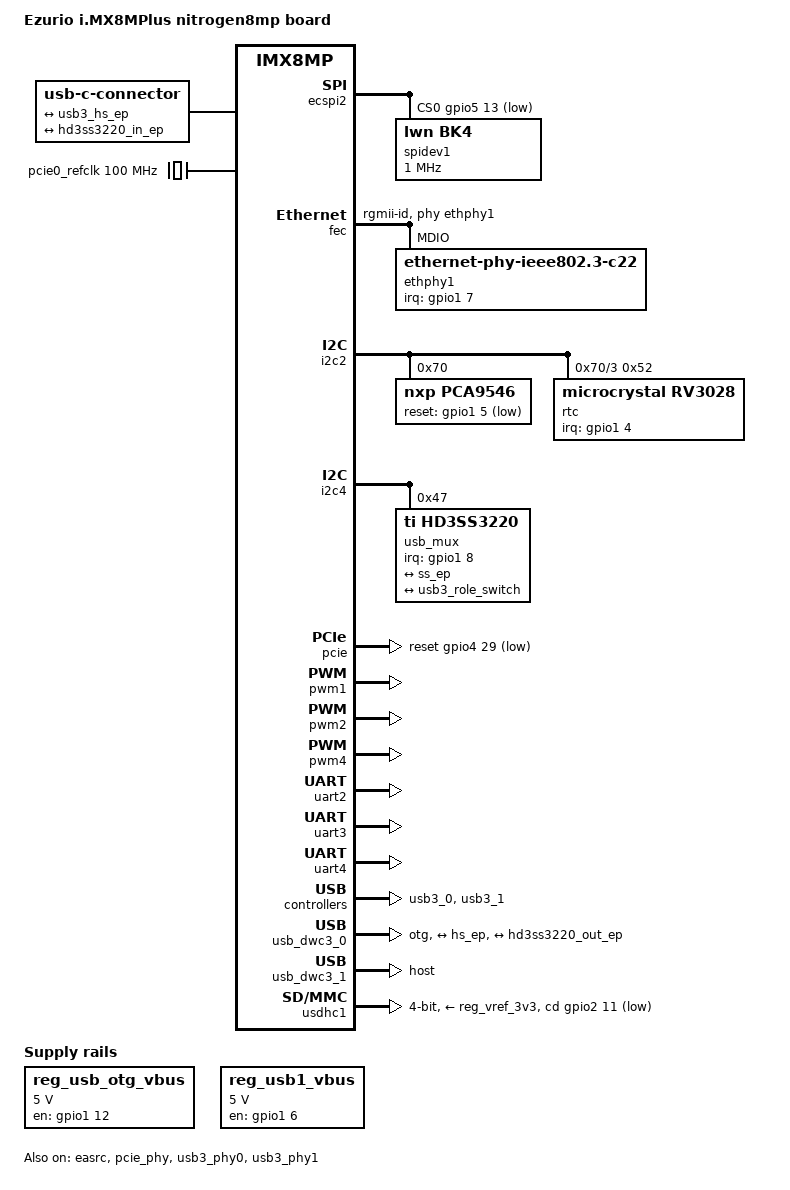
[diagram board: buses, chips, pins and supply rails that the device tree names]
// SPDX-License-Identifier: (GPL-2.0+ OR MIT)
/*
 * Copyright 2025 Ezurio LLC
 */

/dts-v1/;

#include <dt-bindings/phy/phy-imx8-pcie.h>
#include <dt-bindings/usb/pd.h>
#include "imx8mp-nitrogen8mp-som.dtsi"

/ {
	model = "Ezurio i.MX8MPlus nitrogen8mp board";
	compatible = "ezurio,imx8mp-nitrogen8mp", "fsl,imx8mp";

	aliases {
		usb_mux = &usb_mux;
	};

	chosen {
		stdout-path = &uart2;
	};

	connector {
		compatible = "usb-c-connector";
		label = "USB-C";
		data-role = "dual";

		ports {
			#address-cells = <1>;
			#size-cells = <0>;

			port@0 {
				reg = <0>;
				hs_ep: endpoint {
					remote-endpoint = <&usb3_hs_ep>;
				};
			};

			port@1 {
				reg = <1>;
				ss_ep: endpoint {
					remote-endpoint = <&hd3ss3220_in_ep>;
				};
			};
		};
	};

	pcie0_refclk: pcie0-refclk {
		compatible = "fixed-clock";
		#clock-cells = <0>;
		clock-frequency = <100000000>;
	};

	reg_usb_otg_vbus: regulator-usb-otg-vbus {
		compatible = "regulator-fixed";
		pinctrl-names = "default";
		pinctrl-0 = <&pinctrl_reg_usbotg_vbus>;
		regulator-name = "usb_otg_vbus";
		regulator-min-microvolt = <5000000>;
		regulator-max-microvolt = <5000000>;
		gpio = <&gpio1 12 GPIO_ACTIVE_HIGH>;
		enable-active-high;
	};

	reg_usb1_vbus: regulator-usb1-vbus {
		compatible = "regulator-fixed";
		pinctrl-names = "default";
		pinctrl-0 = <&pinctrl_reg_usb1_vbus>;
		regulator-name = "usb_host_vbus";
		regulator-min-microvolt = <5000000>;
		regulator-max-microvolt = <5000000>;
		gpio = <&gpio1 6 GPIO_ACTIVE_HIGH>;
		enable-active-high;
	};
};

&easrc {
	fsl,asrc-rate  = <48000>;
	status = "okay";
};

&ecspi2 {
	#address-cells = <1>;
	#size-cells = <0>;
	fsl,spi-num-chipselects = <1>;
	pinctrl-names = "default";
	pinctrl-0 = <&pinctrl_ecspi2>;
	cs-gpios = <&gpio5 13 GPIO_ACTIVE_LOW>;
	status = "okay";

	spidev1: spi@0 {
		reg = <0>;
		compatible = "lwn,bk4";
		spi-max-frequency = <1000000>;
	};
};

&fec {
	pinctrl-names = "default";
	pinctrl-0 = <&pinctrl_fec>;
#if 0
	phy-reset-gpios = <&gpio5 8 GPIO_ACTIVE_LOW>;
#endif
	phy-mode = "rgmii-id";
	phy-handle = <&ethphy1>;
	fsl,magic-packet;
	status = "okay";

	mdio {
		#address-cells = <1>;
		#size-cells = <0>;

		ethphy1: ethernet-phy {
			compatible = "ethernet-phy-ieee802.3-c22";
			eee-broken-1000t;
			interrupts-extended = <&gpio1 7 IRQ_TYPE_LEVEL_LOW>;
			reg-mask = <0x90>;
		};
	};
};

&i2c2 {
	pca9546: i2cmux9546@70 {
		pinctrl-names = "default";
		pinctrl-0 = <&pinctrl_i2c2_pca9546>;
		compatible = "nxp,pca9546";
		reg = <0x70>;
		reset-gpios = <&gpio1 5 GPIO_ACTIVE_LOW>;
		#address-cells = <1>;
		#size-cells = <0>;

		i2c2a: i2c2@0 {
			clock-frequency = <100000>;
			reg = <0>;
			#address-cells = <1>;
			#size-cells = <0>;
		};

		i2c2b: i2c2@1 {
			/* J9  - camera*/
			clock-frequency = <100000>;
			reg = <1>;
			#address-cells = <1>;
			#size-cells = <0>;
			/* edid  @50 */
		};

		i2c2c: i2c2@2 {
			/* J10 - camera */
			clock-frequency = <100000>;
			reg = <2>;
			#address-cells = <1>;
			#size-cells = <0>;
		};

		i2c2d: i2c2@3 {
			/* rtc, J11 mipi */
			clock-frequency = <100000>;
			reg = <3>;
			#address-cells = <1>;
			#size-cells = <0>;
		};
	};
};

&i2c2b {
};

&i2c2c {
};

&i2c2d {
	rtc@52 {
		backup-switchover-dsm;
		compatible = "microcrystal,rv3028";
		pinctrl-names = "default";
		pinctrl-0 = <&pinctrl_i2c2d_rv3028>;
		reg = <0x52>;
		interrupts-extended = <&gpio1 4 IRQ_TYPE_LEVEL_LOW>;
		wakeup-source;
	};
};

&i2c3 {
};

&i2c4 {
	usb_mux: hd3ss3220@47 {
		/* tusb320 is compatible with hd3ss3220 */
		compatible = "ti,hd3ss3220";
		interrupts-extended = <&gpio1 8 IRQ_TYPE_LEVEL_LOW>;
		pinctrl-names = "default";
		pinctrl-0 = <&pinctrl_i2c4_hd3ss3220>;
		reg = <0x47>;

		ports {
			#address-cells = <1>;
			#size-cells = <0>;

			port@0 {
				reg = <0>;
				hd3ss3220_in_ep: endpoint {
					remote-endpoint = <&ss_ep>;
				};
			};

			port@1 {
				reg = <1>;
				hd3ss3220_out_ep: endpoint {
					remote-endpoint = <&usb3_role_switch>;
				};
			};
		};
	};
};

&iomuxc {
	pinctrl-names = "default";
	pinctrl-0 = <&pinctrl_hog>;

	pinctrl_ecspi2: ecspi2grp {
		fsl,pins = <
			/* J31 */
			MX8MP_IOMUXC_ECSPI2_SCLK__ECSPI2_SCLK		0x82	/* Pin 20 */
			MX8MP_IOMUXC_ECSPI2_MOSI__ECSPI2_MOSI		0x82	/* Pin 10 */
			MX8MP_IOMUXC_ECSPI2_MISO__ECSPI2_MISO		0x82	/* Pin 8 */
			MX8MP_IOMUXC_ECSPI2_SS0__GPIO5_IO13		0x143	/* Pin 6 */
		>;
	};

	pinctrl_fec: fecgrp {
		fsl,pins = <
			MX8MP_IOMUXC_SAI1_RXD2__ENET1_MDC		0x0
			MX8MP_IOMUXC_SAI1_RXD3__ENET1_MDIO		0xa0
			MX8MP_IOMUXC_SAI1_TXD4__ENET1_RGMII_TX_CTL	0x1f
			MX8MP_IOMUXC_SAI1_TXD5__ENET1_RGMII_TXC		0x1f
			MX8MP_IOMUXC_SAI1_TXD0__ENET1_RGMII_TD0		0x1f
			MX8MP_IOMUXC_SAI1_TXD1__ENET1_RGMII_TD1		0x1f
			MX8MP_IOMUXC_SAI1_TXD2__ENET1_RGMII_TD2		0x1f
			MX8MP_IOMUXC_SAI1_TXD3__ENET1_RGMII_TD3		0x1f

			MX8MP_IOMUXC_SAI1_TXFS__ENET1_RGMII_RX_CTL	0x91
			MX8MP_IOMUXC_SAI1_TXC__ENET1_RGMII_RXC		0x91
			MX8MP_IOMUXC_SAI1_RXD4__ENET1_RGMII_RD0		0x91
			MX8MP_IOMUXC_SAI1_RXD5__ENET1_RGMII_RD1		0x91
			MX8MP_IOMUXC_SAI1_RXD6__ENET1_RGMII_RD2		0x91
			MX8MP_IOMUXC_SAI1_RXD7__ENET1_RGMII_RD3		0x91
			MX8MP_IOMUXC_ECSPI1_MISO__GPIO5_IO08		0x100
			MX8MP_IOMUXC_GPIO1_IO07__GPIO1_IO07		0x1c0
		>;
	};

	pinctrl_hog: hoggrp {
		fsl,pins = <
			MX8MP_IOMUXC_HDMI_DDC_SCL__HDMIMIX_HDMI_SCL	0x400001c3
			MX8MP_IOMUXC_HDMI_DDC_SDA__HDMIMIX_HDMI_SDA	0x400001c3
			MX8MP_IOMUXC_HDMI_HPD__HDMIMIX_HDMI_HPD		0x40000019
			MX8MP_IOMUXC_HDMI_CEC__HDMIMIX_HDMI_CEC		0x40000019
			MX8MP_IOMUXC_NAND_DATA01__GPIO3_IO07		0x119
			/* J31 */
			MX8MP_IOMUXC_SPDIF_RX__GPIO5_IO04		0x41	/* Pin 17 */
			MX8MP_IOMUXC_SPDIF_EXT_CLK__GPIO5_IO05		0x41	/* Pin 19 */
			MX8MP_IOMUXC_SPDIF_TX__GPIO5_IO03		0x41	/* Pin 21 */
			MX8MP_IOMUXC_SD1_RESET_B__GPIO2_IO10		0x41	/* Pin 23 */
			MX8MP_IOMUXC_SD1_DATA6__GPIO2_IO08		0x41	/* Pin 25 */
			MX8MP_IOMUXC_SD1_DATA5__GPIO2_IO07		0x41	/* Pin 29 */
			MX8MP_IOMUXC_SD1_DATA4__GPIO2_IO06		0x41	/* Pin 31 */
			MX8MP_IOMUXC_SAI1_MCLK__GPIO4_IO20		0x16	/* Pin 2 */
			MX8MP_IOMUXC_SAI1_TXD7__GPIO4_IO19		0x1c4	/* Pin 4 */
		>;
	};

	pinctrl_i2c2_pca9546: i2c2-pca9546grp {
		fsl,pins = <
			MX8MP_IOMUXC_GPIO1_IO05__GPIO1_IO05        	0x100
		>;
	};

	pinctrl_i2c2d_rv3028: i2c2d-rv3028grp {
		fsl,pins = <
			MX8MP_IOMUXC_GPIO1_IO04__GPIO1_IO04		0x1c0
		>;
	};

	pinctrl_i2c4_hd3ss3220: i2c4-hd3ss3220grp {
		fsl,pins = <
			MX8MP_IOMUXC_GPIO1_IO08__GPIO1_IO08		0x16
			MX8MP_IOMUXC_SAI1_RXD0__GPIO4_IO02		0x03
		>;
	};

	pinctrl_pdm: pdmgrp {
		fsl,pins = <
			MX8MP_IOMUXC_SAI1_RXC__AUDIOMIX_PDM_CLK			0xd6
			MX8MP_IOMUXC_SAI3_RXFS__AUDIOMIX_PDM_BIT_STREAM00	0xd6
		>;
	};

	pinctrl_pcie: pciegrp {
		fsl,pins = <
			MX8MP_IOMUXC_SAI3_RXC__GPIO4_IO29	0x41
			MX8MP_IOMUXC_SAI2_TXD0__GPIO4_IO26	0x41
		>;
	};

	pinctrl_pwm1: pwm1grp {
		fsl,pins = <
			/* J11 mipi display */
			MX8MP_IOMUXC_GPIO1_IO01__PWM1_OUT	0x100
		>;
	};

	pinctrl_pwm2: pwm2grp {
		fsl,pins = <
			/* J27 pin 20 LVDS2 display */
			MX8MP_IOMUXC_SAI5_RXD0__PWM2_OUT	0xd6
			/* J28 pin 20 LVDS display */
			MX8MP_IOMUXC_GPIO1_IO09__PWM2_OUT	0xd6
		>;
	};

	pinctrl_pwm4: pwm4grp {
		fsl,pins = <
			/* J31, pin 36 */
			MX8MP_IOMUXC_SAI5_RXFS__PWM4_OUT	0x116
		>;
	};

	pinctrl_reg_usbotg_vbus: reg-usbotg-vbusgrp {
		fsl,pins = <
			MX8MP_IOMUXC_GPIO1_IO12__GPIO1_IO12	0x100
		>;
	};

	pinctrl_reg_usb1_vbus: reg-usb1_vbusgrp {
		fsl,pins = <
			MX8MP_IOMUXC_GPIO1_IO06__GPIO1_IO06	0x100
		>;
	};

	pinctrl_uart2: uart2grp {
		fsl,pins = <
			MX8MP_IOMUXC_UART2_RXD__UART2_DCE_RX	0x140
			MX8MP_IOMUXC_UART2_TXD__UART2_DCE_TX	0x140
		>;
	};

	pinctrl_uart3: uart3grp {
		fsl,pins = <
			MX8MP_IOMUXC_ECSPI1_SCLK__UART3_DCE_RX	0x140
			MX8MP_IOMUXC_ECSPI1_MOSI__UART3_DCE_TX	0x140
		>;
	};

	pinctrl_uart4: uart4grp {
		fsl,pins = <
			MX8MP_IOMUXC_UART4_RXD__UART4_DCE_RX	0x140
			MX8MP_IOMUXC_UART4_TXD__UART4_DCE_TX	0x140
		>;
	};

	pinctrl_usb3_0: usb3-0grp {
		fsl,pins = <
			MX8MP_IOMUXC_GPIO1_IO13__USB1_OC	0x1c0
		>;
	};

	pinctrl_usdhc1: usdhc1grp {
		fsl,pins = <
			MX8MP_IOMUXC_SD1_CLK__USDHC1_CLK	0x190
			MX8MP_IOMUXC_SD1_CMD__USDHC1_CMD	0x1d0
			MX8MP_IOMUXC_SD1_DATA0__USDHC1_DATA0	0x1d0
			MX8MP_IOMUXC_SD1_DATA1__USDHC1_DATA1	0x1d0
			MX8MP_IOMUXC_SD1_DATA2__USDHC1_DATA2	0x1d0
			MX8MP_IOMUXC_SD1_DATA3__USDHC1_DATA3	0x1d0
			MX8MP_IOMUXC_GPIO1_IO03__USDHC1_VSELECT	0x116
		>;
	};

	pinctrl_usdhc1_100mhz: usdhc1grp-100mhz {
		fsl,pins = <
			MX8MP_IOMUXC_SD1_CLK__USDHC1_CLK	0x194
			MX8MP_IOMUXC_SD1_CMD__USDHC1_CMD	0x1d4
			MX8MP_IOMUXC_SD1_DATA0__USDHC1_DATA0	0x1d4
			MX8MP_IOMUXC_SD1_DATA1__USDHC1_DATA1	0x1d4
			MX8MP_IOMUXC_SD1_DATA2__USDHC1_DATA2	0x1d4
			MX8MP_IOMUXC_SD1_DATA3__USDHC1_DATA3	0x1d4
		>;
	};

	pinctrl_usdhc1_200mhz: usdhc1grp-200mhz {
		fsl,pins = <
			MX8MP_IOMUXC_SD1_CLK__USDHC1_CLK	0x196
			MX8MP_IOMUXC_SD1_CMD__USDHC1_CMD	0x1d6
			MX8MP_IOMUXC_SD1_DATA0__USDHC1_DATA0	0x1d6
			MX8MP_IOMUXC_SD1_DATA1__USDHC1_DATA1	0x1d6
			MX8MP_IOMUXC_SD1_DATA2__USDHC1_DATA2	0x1d6
			MX8MP_IOMUXC_SD1_DATA3__USDHC1_DATA3	0x1d6
		>;
	};

	pinctrl_usdhc1_gpio: usdhc1grp-gpio {
		fsl,pins = <
			MX8MP_IOMUXC_SD1_STROBE__GPIO2_IO11	0x1c4
		>;
	};
};

&pcie {
	assigned-clocks = <&clk IMX8MP_CLK_PCIE_AUX>;
	assigned-clock-parents = <&clk IMX8MP_SYS_PLL2_50M>;
	assigned-clock-rates = <10000000>;
	clocks = <&clk IMX8MP_CLK_HSIO_ROOT>,
		 <&clk IMX8MP_CLK_PCIE_ROOT>,
		 <&clk IMX8MP_CLK_HSIO_AXI>;
	clock-names = "pcie", "pcie_aux", "pcie_bus";
	disable-gpio = <&gpio4 26 GPIO_ACTIVE_LOW>;
	pinctrl-names = "default";
	pinctrl-0 = <&pinctrl_pcie>;
	reset-gpio = <&gpio4 29 GPIO_ACTIVE_LOW>;
	status = "okay";
};

&pcie_phy {
	fsl,clkreq-unsupported;
	fsl,refclk-pad-mode = <IMX8_PCIE_REFCLK_PAD_INPUT>;
	clocks = <&pcie0_refclk>;
	clock-names = "ref";
	status = "okay";
};

&pwm1 {
	pinctrl-names = "default";
	pinctrl-0 = <&pinctrl_pwm1>;
	status = "okay";
};

&pwm2 {
	pinctrl-names = "default";
	pinctrl-0 = <&pinctrl_pwm2>;
	status = "okay";
};

&pwm4 {
	pinctrl-names = "default";
	pinctrl-0 = <&pinctrl_pwm4>;
	status = "okay";
};

&uart2 {
	/* console */
	pinctrl-names = "default";
	pinctrl-0 = <&pinctrl_uart2>;
	status = "okay";
};

&uart3 {
	pinctrl-names = "default";
	pinctrl-0 = <&pinctrl_uart3>;
	assigned-clocks = <&clk IMX8MP_CLK_UART3>;
	assigned-clock-parents = <&clk IMX8MP_SYS_PLL1_80M>;
	status = "okay";
};

&uart4 {
	pinctrl-names = "default";
	pinctrl-0 = <&pinctrl_uart4>;
	assigned-clocks = <&clk IMX8MP_CLK_UART4>;
	assigned-clock-parents = <&clk IMX8MP_SYS_PLL1_80M>;
	status = "okay";
};

&usb3_0 {
	fsl,over-current-active-low;
	status = "okay";
};

&usb3_1 {
	status = "okay";
};

&usb_dwc3_0 {
	dr_mode = "otg";
	pinctrl-names = "default";
	pinctrl-0 = <&pinctrl_usb3_0>;
	status = "okay";
	usb-role-switch;

	ports {
		#address-cells = <1>;
		#size-cells = <0>;

		port@0 {
			reg = <0>;
			usb3_hs_ep: endpoint {
				remote-endpoint = <&hs_ep>;
			};
		};

		port@1 {
			reg = <1>;
			usb3_role_switch: endpoint {
				remote-endpoint = <&hd3ss3220_out_ep>;
			};
		};
	};
};

&usb_dwc3_1 {
	dr_mode = "host";
	status = "okay";
};

&usb3_phy0 {
	fsl,phy-tx-preemp-amp-tune = <2>;
	status = "okay";
	vbus-supply = <&reg_usb_otg_vbus>;
};

&usb3_phy1 {
	fsl,phy-tx-preemp-amp-tune = <2>;
	status = "okay";
	vbus-supply = <&reg_usb1_vbus>;
};

&usdhc1 {
	bus-width = <4>;
	cd-gpios = <&gpio2 11 GPIO_ACTIVE_LOW>;
	pinctrl-names = "default", "state_100mhz", "state_200mhz";
	pinctrl-0 = <&pinctrl_usdhc1>, <&pinctrl_usdhc1_gpio>;
	pinctrl-1 = <&pinctrl_usdhc1_100mhz>, <&pinctrl_usdhc1_gpio>;
	pinctrl-2 = <&pinctrl_usdhc1_200mhz>, <&pinctrl_usdhc1_gpio>;
	status = "okay";
	vmmc-supply = <&reg_vref_3v3>;
};
